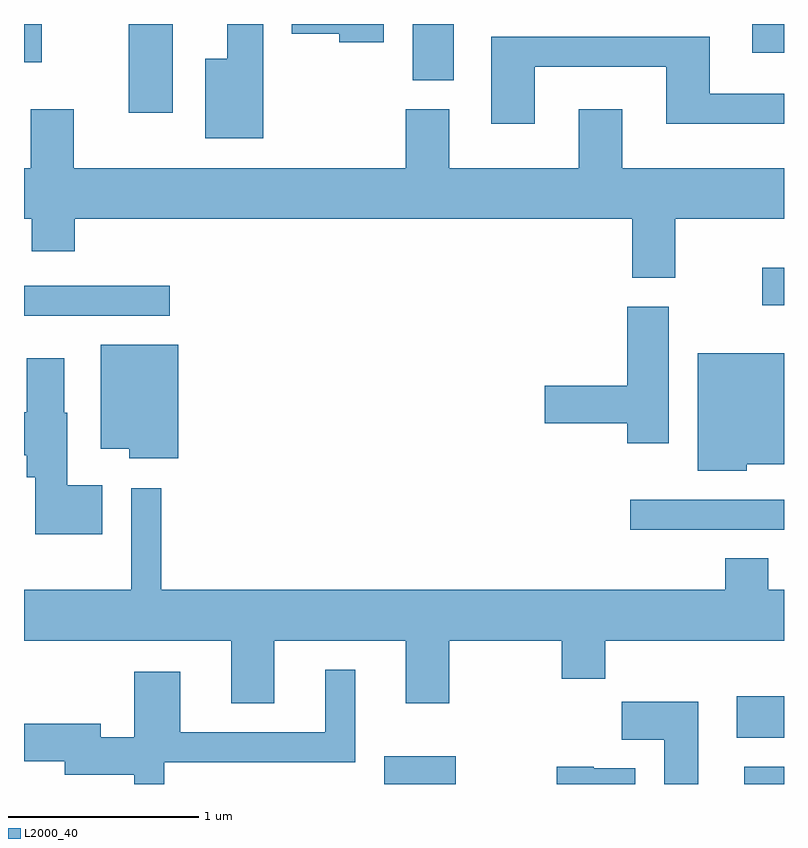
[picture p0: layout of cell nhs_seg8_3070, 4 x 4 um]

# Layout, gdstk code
import gdstk
lib = gdstk.Library(unit=1e-6, precision=1e-09)
def R(c, l, rs):  # rectangles x0, y0, x1, y1
    for r in rs: c.add(gdstk.rectangle(r[:2], r[2:], *l))
def P(c, l, *ps):  # polygons
    for p in ps: c.add(gdstk.Polygon(p, *l))
L2000_40 = (2000, 40)

nhs_seg8_3070 = lib.new_cell('nhs_seg8_3070')
R(nhs_seg8_3070, L2000_40, [(279.506,1822.342,279.884,1822.489), (281.401,1822.342,281.611,1822.434), (281.361,1822.586,281.611,1822.804), (280.803,1823.681,281.611,1823.839), (277.611,1824.806,278.378,1824.964), (281.496,1824.861,281.611,1825.059), (278.161,1825.876,278.394,1826.342), (279.656,1826.046,279.874,1826.342), (277.611,1826.141,277.704,1826.342), (281.443,1826.191,281.611,1826.342)])
P(nhs_seg8_3070, L2000_40, [(279.504,1826.342),(279.021,1826.342),(279.021,1826.291),(279.271,1826.291),(279.271,1826.246),(279.504,1826.246)],
  [(278.869,1826.342),(278.681,1826.342),(278.681,1826.159),(278.566,1826.159),(278.566,1825.741),(278.869,1825.741)],
  [(280.299,1826.116),(280.991,1826.116),(280.991,1825.816),(281.611,1825.816),(281.611,1825.974),(281.219,1825.974),(281.219,1826.274),(280.071,1826.274),(280.071,1825.816),(280.299,1825.816)],
  [(281.039,1825.316),(281.611,1825.316),(281.611,1825.584),(280.759,1825.584),(280.759,1825.894),(280.531,1825.894),(280.531,1825.584),(279.849,1825.584),(279.849,1825.894),(279.621,1825.894),(279.621,1825.584),(277.874,1825.584),(277.874,1825.894),(277.646,1825.894),(277.646,1825.584),(277.611,1825.584),(277.611,1825.316),(277.651,1825.316),(277.651,1825.146),(277.879,1825.146),(277.879,1825.316),(280.811,1825.316),(280.811,1825.006),(281.039,1825.006)],
  [(281.004,1824.854),(280.786,1824.854),(280.786,1824.439),(280.351,1824.439),(280.351,1824.241),(280.786,1824.241),(280.786,1824.136),(281.004,1824.136)],
  [(278.424,1824.654),(278.016,1824.654),(278.016,1824.106),(278.166,1824.106),(278.166,1824.056),(278.424,1824.056)],
  [(281.414,1824.026),(281.611,1824.026),(281.611,1824.609),(281.156,1824.609),(281.156,1823.991),(281.414,1823.991)],
  [(278.024,1823.914),(277.839,1823.914),(277.839,1824.295),(277.824,1824.295),(277.824,1824.584),(277.626,1824.584),(277.626,1824.299),(277.611,1824.299),(277.611,1824.071),(277.626,1824.071),(277.626,1823.956),(277.671,1823.956),(277.671,1823.656),(278.024,1823.656)],
  [(278.929,1823.096),(279.621,1823.096),(279.621,1822.766),(279.849,1822.766),(279.849,1823.096),(280.441,1823.096),(280.441,1822.896),(280.669,1822.896),(280.669,1823.096),(281.611,1823.096),(281.611,1823.364),(281.529,1823.364),(281.529,1823.529),(281.301,1823.529),(281.301,1823.364),(278.334,1823.364),(278.334,1823.898),(278.176,1823.898),(278.176,1823.364),(277.611,1823.364),(277.611,1823.096),(278.701,1823.096),(278.701,1822.766),(278.929,1822.766)],
  [(278.349,1822.456),(279.354,1822.456),(279.354,1822.943),(279.196,1822.943),(279.196,1822.614),(278.434,1822.614),(278.434,1822.934),(278.191,1822.934),(278.191,1822.589),(278.014,1822.589),(278.014,1822.659),(277.611,1822.659),(277.611,1822.461),(277.826,1822.461),(277.826,1822.391),(278.191,1822.391),(278.191,1822.342),(278.349,1822.342)],
  [(281.159,1822.774),(280.756,1822.774),(280.756,1822.576),(280.981,1822.576),(280.981,1822.342),(281.159,1822.342)],
  [(280.829,1822.424),(280.61,1822.424),(280.61,1822.434),(280.416,1822.434),(280.416,1822.342),(280.829,1822.342)])

lib.write_gds('nhs_seg8_3070.gds')
